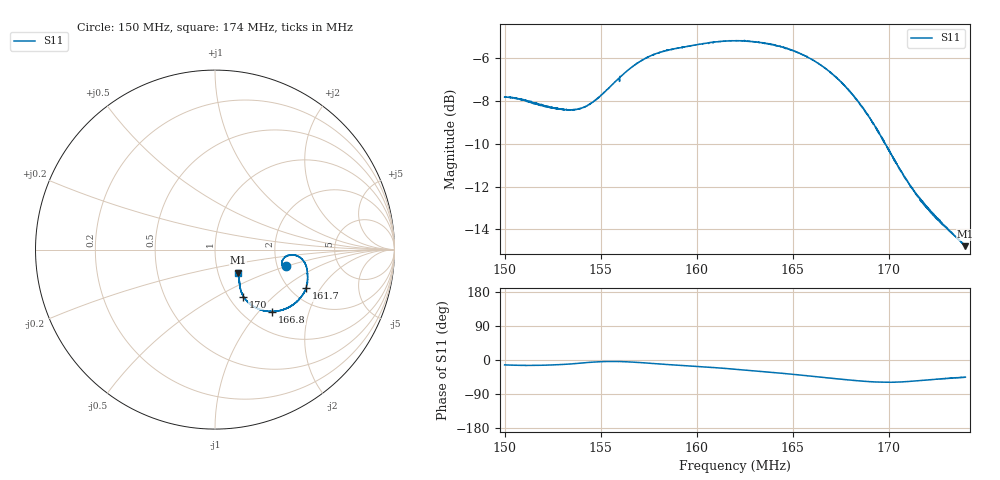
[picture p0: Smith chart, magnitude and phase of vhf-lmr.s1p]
! Calibrated averaged scanner-service zoom
# Hz S RI R 50
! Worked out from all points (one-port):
!   2001 points, 150 MHz to 174 MHz, reference 50 ohm
!   lowest |S11| = -14.8 dB at 174 MHz (marker M1), VSWR 1.45, Z = 62.2 - j16.7 ohm
!   |S11| at or under -10 dB: 169.8106 MHz to 169.8158 MHz (5.159 kHz wide, 0.00304 % of centre); 169.8 MHz to end of sweep
!   S11 on the Smith chart (normalised r, x): 150 MHz: 2.24, -0.49; 161.7 MHz: 2.41, -1.48; 166.8 MHz: 1.34, -1.19; 170 MHz: 1.17, -0.67; 174 MHz: 1.24, -0.33
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1.5e8  0.3966 -0.0909
1.51212e8  0.3855 -0.0979
1.521e8  0.3755 -0.0905
1.53e8  0.3731 -0.0783
1.53708e8  0.3755 -0.0614
1.54308e8  0.3856 -0.0455
1.55172e8  0.416 -0.031
1.56e8  0.4535 -0.0322
1.56744e8  0.4803 -0.0485
1.57392e8  0.4976 -0.0695
1.58124e8  0.5093 -0.0959
1.59e8  0.5139 -0.1251
1.60476e8  0.5156 -0.1721
1.61652e8  0.5073 -0.2142
1.62e8  0.5024 -0.2268
1.62852e8  0.4853 -0.2564
1.63668e8  0.4634 -0.2831
1.65e8  0.4134 -0.3197
1.65864e8  0.3722 -0.3371
1.66824e8  0.3192 -0.3458
1.67496e8  0.2815 -0.3418
1.68e8  0.2517 -0.334
1.68996e8  0.1985 -0.3063
1.70028e8  0.1585 -0.2618
1.71e8  0.1412 -0.2155
1.71528e8  0.1374 -0.1943
1.72212e8  0.1348 -0.1736
1.74e8  0.1283 -0.1294
